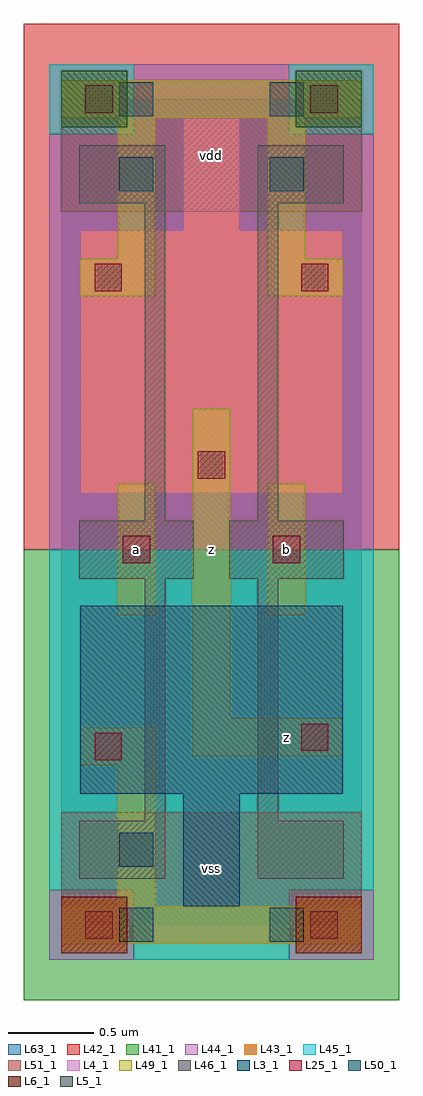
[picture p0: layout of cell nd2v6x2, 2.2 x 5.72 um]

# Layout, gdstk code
import gdstk
lib = gdstk.Library(unit=1e-6, precision=1e-09)
def R(c, l, rs):  # rectangles x0, y0, x1, y1
    for r in rs: c.add(gdstk.rectangle(r[:2], r[2:], *l))
L3_1 = (3, 1)
L4_1 = (4, 1)
L5_1 = (5, 1)
L6_1 = (6, 1)
L25_1 = (25, 1)
L41_1 = (41, 1)
L42_1 = (42, 1)
L43_1 = (43, 1)
L44_1 = (44, 1)
L45_1 = (45, 1)
L46_1 = (46, 1)
L49_1 = (49, 1)
L50_1 = (50, 1)
L51_1 = (51, 1)
L63_1 = (63, 1)

nd2v6x2 = lib.new_cell('nd2v6x2')
R(nd2v6x2, L3_1, [(0.715,0.11,1.045,0.77), (0.11,0.77,1.65,1.87)])
R(nd2v6x2, L4_1, [(0.11,2.53,1.65,4.07), (0.715,4.07,1.045,4.73)])
R(nd2v6x2, L5_1, [(0,4.675,0.385,5.005), (1.375,4.675,1.76,5.005)])
R(nd2v6x2, L6_1, [(0,-0.165,0.385,0.165), (1.375,-0.165,1.76,0.165)])
R(nd2v6x2, L25_1, [(0.14,-0.08,0.3,0.08), (1.46,-0.08,1.62,0.08), (0.195,0.965,0.355,1.125), (1.405,1.02,1.565,1.18), (0.36,2.12,0.52,2.28), (1.24,2.12,1.4,2.28), (0.8,2.615,0.96,2.775), (0.195,3.715,0.355,3.875), (1.405,3.715,1.565,3.875), (0.14,4.76,0.3,4.92), (1.46,4.76,1.62,4.92)])
R(nd2v6x2, L41_1, [(-0.22,-0.44,1.98,2.2)])
R(nd2v6x2, L42_1, [(-0.22,2.2,1.98,5.28)])
R(nd2v6x2, L43_1, [(0,-0.165,0.385,0.165), (1.375,-0.165,1.76,0.165), (0.715,0.11,1.045,0.77), (0.11,0.77,1.65,1.87), (0.11,2.53,1.65,4.07), (0.715,4.07,1.045,4.73), (0,4.675,0.385,5.005), (1.375,4.675,1.76,5.005)])
R(nd2v6x2, L44_1, [(-0.07,-0.205,0.425,0.205), (1.335,-0.205,1.83,0.205), (-0.07,2.2,1.83,4.635), (0.425,4.635,1.335,5.045)])
R(nd2v6x2, L45_1, [(0.425,-0.205,1.335,0.205), (-0.07,0.205,1.83,2.2), (-0.07,4.635,0.425,5.045), (1.335,4.635,1.83,5.045)])
R(nd2v6x2, L46_1, [(0.105,0.27,0.61,0.61), (1.15,0.27,1.655,0.61), (0.49,0.61,0.61,2.03), (1.15,0.61,1.27,2.03), (0.105,2.03,0.775,2.37), (0.985,2.03,1.655,2.37), (0.49,2.37,0.61,4.23), (1.15,2.37,1.27,4.23), (0.105,4.23,0.61,4.57), (1.15,4.23,1.655,4.57)])
R(nd2v6x2, L49_1, [(0,-0.11,1.76,0.11), (0.33,0.11,0.55,0.935), (0.11,0.935,0.55,1.155), (0.77,0.99,1.65,1.21), (0.77,1.21,0.99,3.025), (0.33,1.815,0.55,2.585), (1.21,1.815,1.43,2.585), (0.11,3.685,0.55,3.905), (1.21,3.685,1.65,3.905), (0.33,3.905,0.55,4.73), (1.21,3.905,1.43,4.73), (0,4.73,1.76,4.95)])
R(nd2v6x2, L50_1, [(0.34,-0.1,0.54,0.1), (1.22,-0.1,1.42,0.1), (0.34,0.34,0.54,0.54), (0.34,4.3,0.54,4.5), (1.22,4.3,1.42,4.5), (0.34,4.74,0.54,4.94), (1.22,4.74,1.42,4.94)])
R(nd2v6x2, L51_1, [(0,-0.11,1.76,0.66), (0,4.18,1.76,4.95)])
R(nd2v6x2, L63_1, [(0,0,1.76,4.84)])
nd2v6x2.add(gdstk.Label('a', (0.44,2.2), layer=49, texttype=1))
nd2v6x2.add(gdstk.Label('z', (0.88,2.2), layer=49, texttype=1))
nd2v6x2.add(gdstk.Label('z', (1.32,1.1), layer=49, texttype=1))
nd2v6x2.add(gdstk.Label('b', (1.32,2.2), layer=49, texttype=1))
nd2v6x2.add(gdstk.Label('vss', (0.88,0.33), layer=51, texttype=1))
nd2v6x2.add(gdstk.Label('vdd', (0.88,4.51), layer=51, texttype=1))

lib.write_gds('nd2v6x2.gds')
